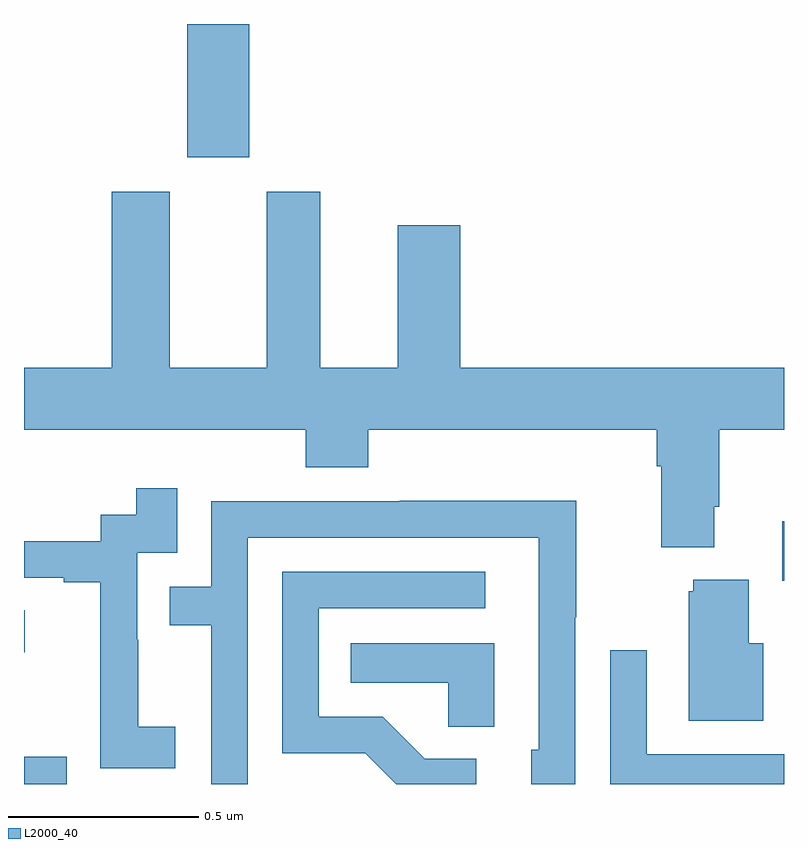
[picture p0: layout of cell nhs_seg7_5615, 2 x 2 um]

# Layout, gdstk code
import gdstk
lib = gdstk.Library(unit=1e-6, precision=1e-09)
def R(c, l, rs):  # rectangles x0, y0, x1, y1
    for r in rs: c.add(gdstk.rectangle(r[:2], r[2:], *l))
def P(c, l, *ps):  # polygons
    for p in ps: c.add(gdstk.Polygon(p, *l))
L2000_40 = (2000, 40)

nhs_seg7_5615 = lib.new_cell('nhs_seg7_5615')
R(nhs_seg7_5615, L2000_40, [(188,1017,188.112,1017.072), (188,1017.347,188.002,1017.457), (189.995,1017.535,190,1017.691), (188.429,1018.65,188.593,1019)])
P(nhs_seg7_5615, L2000_40, [(189.817,1017.73),(189.83,1017.73),(189.83,1017.932),(190,1017.932),(190,1018.096),(189.148,1018.096),(189.148,1018.471),(188.984,1018.471),(188.984,1018.096),(188.779,1018.096),(188.779,1018.558),(188.639,1018.558),(188.639,1018.096),(188.383,1018.096),(188.383,1018.558),(188.231,1018.558),(188.231,1018.096),(188,1018.096),(188,1017.932),(188.741,1017.932),(188.741,1017.833),(188.906,1017.833),(188.906,1017.932),(189.665,1017.932),(189.665,1017.836),(189.677,1017.836),(189.677,1017.623),(189.817,1017.623)],
  [(188.398,1017.151),(188.3,1017.151),(188.3,1017.38),(188.298,1017.38),(188.298,1017.609),(188.403,1017.609),(188.403,1017.778),(188.295,1017.778),(188.295,1017.708),(188.202,1017.708),(188.202,1017.639),(188,1017.639),(188,1017.543),(188.105,1017.543),(188.105,1017.531),(188.201,1017.531),(188.201,1017.247),(188.2,1017.247),(188.2,1017.041),(188.398,1017.041)],
  [(188.589,1017.648),(189.354,1017.648),(189.354,1017.09),(189.335,1017.09),(189.335,1017),(189.45,1017),(189.45,1017.439),(189.453,1017.439),(189.453,1017.746),(188.989,1017.746),(188.989,1017.744),(188.493,1017.744),(188.493,1017.519),(188.383,1017.519),(188.383,1017.418),(188.493,1017.418),(188.493,1017),(188.589,1017)],
  [(189.19,1017.066),(189.055,1017.066),(188.944,1017.177),(188.775,1017.177),(188.775,1017.462),(189.214,1017.462),(189.214,1017.558),(188.679,1017.558),(188.679,1017.081),(188.898,1017.081),(188.98,1017),(189.19,1017)],
  [(189.946,1017.37),(189.907,1017.37),(189.907,1017.538),(189.761,1017.538),(189.761,1017.507),(189.749,1017.507),(189.749,1017.167),(189.946,1017.167)],
  [(189.238,1017.37),(188.86,1017.37),(188.86,1017.266),(189.117,1017.266),(189.117,1017.151),(189.238,1017.151)],
  [(190,1017.078),(189.639,1017.078),(189.639,1017.352),(189.543,1017.352),(189.543,1017),(190,1017)])

lib.write_gds('nhs_seg7_5615.gds')
